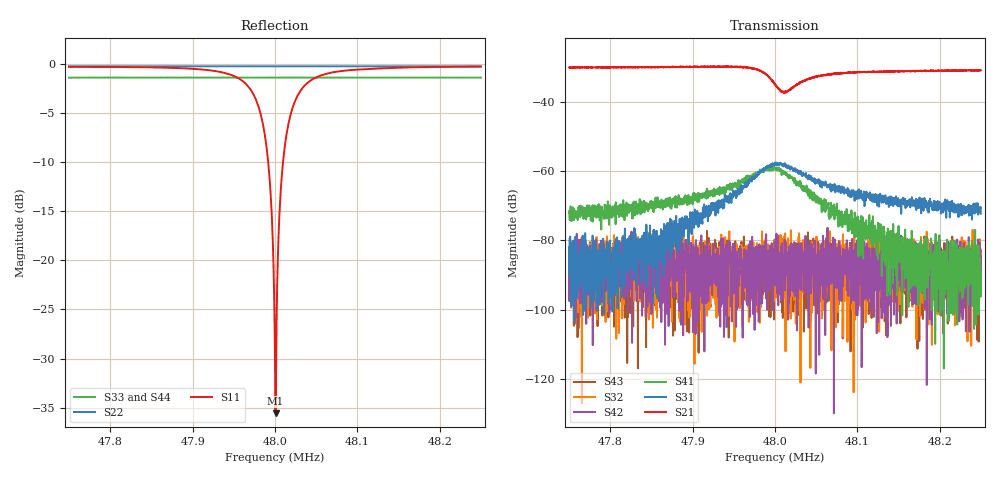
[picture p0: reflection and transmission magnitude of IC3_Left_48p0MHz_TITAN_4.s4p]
#  HZ  S  DB  R  50.00
! Rohde & Schwarz Vector Network Analyzer
! Rohde-Schwarz,ZNB8-4Port,1311601044102961,2.82
! Created: UTC 2/8/2019, 3:34:29 PM
! freq[Hz]  db:S11  ang:S11  db:S12  ang:S12  db:S13  ang:S13  db:S14  ang:S14
!  db:S21  ang:S21  db:S22  ang:S22  db:S23  ang:S23  db:S24  ang:S24
!  db:S31  ang:S31  db:S32  ang:S32  db:S33  ang:S33  db:S34  ang:S34
!  db:S41  ang:S41  db:S42  ang:S42  db:S43  ang:S43  db:S44  ang:S44
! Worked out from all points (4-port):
!   2001 points, 47.75 MHz to 48.25 MHz, reference 50 ohm
!   strongest paths, dB at 47.75 MHz, 47.875 MHz, 48 MHz, 48.125 MHz, 48.25 MHz:
!     S21: -30.0, -29.9, -34.9, -31.4, -30.9
!     S31: -82.0, -83.8, -57.5, -67.3, -72.3
!     S41: -72.1, -68.9, -59.1, -85.6, -89.1
!     S42: -86.7, -82.7, -86.1, -85.2, -84.5
!     S32: -85.6, -82.4, -85.5, -85.4, -88.2
!     S43: -84.0, -87.3, -96.2, -95.6, -89.4
!   lowest |S11| = -35.6 dB at 48.001 MHz (marker M1), VSWR 1.03, Z = 48.4 + j0.248 ohm
!   |S11| at or under -10 dB: 47.99175 MHz to 48.00972 MHz (17.97 kHz wide, 0.0374 % of centre)
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4.775e7  -0.28 5.2  -30.01 -142.4  -86.57 -34.3  -70.87 -24.3
         -30.02 -142.4  -0.21 -110.7  -91.10 -109.6  -83.98 64.0
         -81.99 -85.9  -85.61 150.8  -1.38 141.1  -85.45 -31.2
         -72.11 -25.0  -86.69 -17.8  -84.01 167.7  -1.33 135.3
4.796825e7  -2.35 -38.1  -30.06 -167.9  -63.28 113.3  -61.62 -57.5
            -30.19 -168.9  -0.22 -115.1  -85.84 -14.5  -92.38 171.0
            -62.68 121.7  -103.52 -40.2  -1.37 138.4  -85.41 -125.5
            -61.97 -58.2  -97.98 20.4  -85.10 112.8  -1.32 132.7
4.799025e7  -8.82 -70.2  -32.25 177.7  -59.23 89.3  -59.74 -88.8
            -32.29 178.4  -0.22 -115.5  -78.71 -47.1  -84.30 -69.9
            -58.57 90.5  -86.33 43.1  -1.37 138.2  -81.01 16.9
            -59.04 -86.2  -89.19 -55.4  -92.02 141.5  -1.32 132.4
4.800075e7  -35.59 171.1  -35.03 179.1  -57.40 68.2  -59.19 -110.1
            -35.27 178.9  -0.22 -115.8  -94.21 -105.9  -84.45 63.4
            -57.59 66.0  -86.88 -89.0  -1.37 138.1  -96.17 72.7
            -59.22 -111.0  -92.65 -36.8  -87.41 -30.5  -1.32 132.3
4.8011e7  -8.99 70.5  -37.11 -160.9  -58.24 46.4  -60.18 -132.4
          -37.08 -160.0  -0.21 -116.0  -83.35 -147.1  -99.71 -32.8
          -58.43 41.7  -80.64 -81.1  -1.37 137.9  -85.60 -111.7
          -60.88 -135.5  -86.58 164.8  -90.50 66.4  -1.32 132.2
4.803325e7  -2.45 38.7  -34.19 -137.3  -61.09 11.8  -64.51 -158.5
            -34.14 -138.1  -0.22 -116.4  -85.89 -74.7  -80.95 48.0
            -60.57 10.1  -84.96 -5.9  -1.37 137.6  -93.27 135.6
            -65.27 -162.1  -84.03 75.4  -84.70 58.0  -1.32 131.9
4.825e7  -0.25 -3.3  -30.96 -152.2  -68.89 -39.1  -86.01 -178.4
         -30.86 -152.1  -0.23 -120.9  -83.25 -158.5  -94.02 -53.6
         -72.26 -13.6  -88.20 71.3  -1.37 135.0  -92.08 -99.7
         -89.05 -150.6  -84.52 -63.5  -89.42 -14.4  -1.32 129.3
